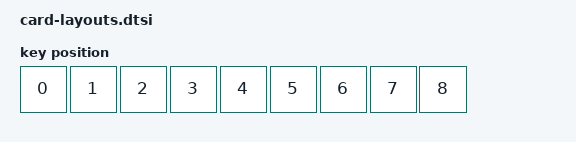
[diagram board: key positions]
#include <physical_layouts.dtsi>

/ {
    physical_layout0: physical_layout_0 {
        compatible = "zmk,physical-layout";
        display-name = "guitar";

        kscan = <&kscan0>;
        transform = <&matrix_transform0>;

        keys  //                     w   h    x    y     rot    rx    ry
            = <&key_physical_attrs 100 100    0    0       0     0     0>
            , <&key_physical_attrs 100 100  100    0       0     0     0>
            , <&key_physical_attrs 100 100  200    0       0     0     0>
            , <&key_physical_attrs 100 100  300    0       0     0     0>
            , <&key_physical_attrs 100 100  400    0       0     0     0>
            , <&key_physical_attrs 100 100  500    0       0     0     0>
            , <&key_physical_attrs 100 100  600    0       0     0     0>
            , <&key_physical_attrs 100 100  700    0       0     0     0>
            , <&key_physical_attrs 100 100  800    0       0     0     0>
            ;
    };
};
